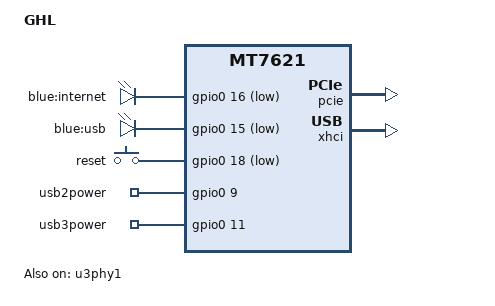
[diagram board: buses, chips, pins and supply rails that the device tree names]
/dts-v1/;

#include "mt7621.dtsi"
#include <dt-bindings/input/input.h>
#include "mt7621-spi-32m-layout.dtsi"
#include "mt7621-raeth-gmac2.dtsi"
#include "mt7621-pinctrl-default-gpio.dtsi"

/ {
	compatible = "mediatek,mt7621-soc";
	model = "GHL";

	chosen {
		bootargs = "console=ttyS0,115200";
	};

	leds {
		compatible = "gpio-leds";
                
		internet {
			label = "blue:internet";
			gpios = <&gpio0 16 GPIO_ACTIVE_LOW>;
		};
		
		usb {
			label = "blue:usb";
			gpios = <&gpio0 15 GPIO_ACTIVE_LOW>;
			linux,default-trigger = "usbport";
		};
		

	};

	gpio-keys-polled {
		compatible = "gpio-keys-polled";
		#address-cells = <1>;
		#size-cells = <0>;
		poll-interval = <20>;

		reset {
			label = "reset";
			gpios = <&gpio0 18 GPIO_ACTIVE_LOW>;
			linux,code = <KEY_RESTART>;
		};
		
	};
	
	gpio_export {
		compatible = "gpio-export";
		#size-cells = <0>;

		usb2power {
			gpio-export,name = "usb2power";
			gpio-export,output = <1>;
			gpios = <&gpio0 9 GPIO_ACTIVE_HIGH>;
		};

		usb3power {
			gpio-export,name = "usb3power";
			gpio-export,output = <1>;
			gpios = <&gpio0 11 GPIO_ACTIVE_HIGH>;
		};
	};
};

&pcie {
	status = "okay";
};

&xhci {
	status = "okay";
};

&u3phy1 {
	status = "okay";
};
